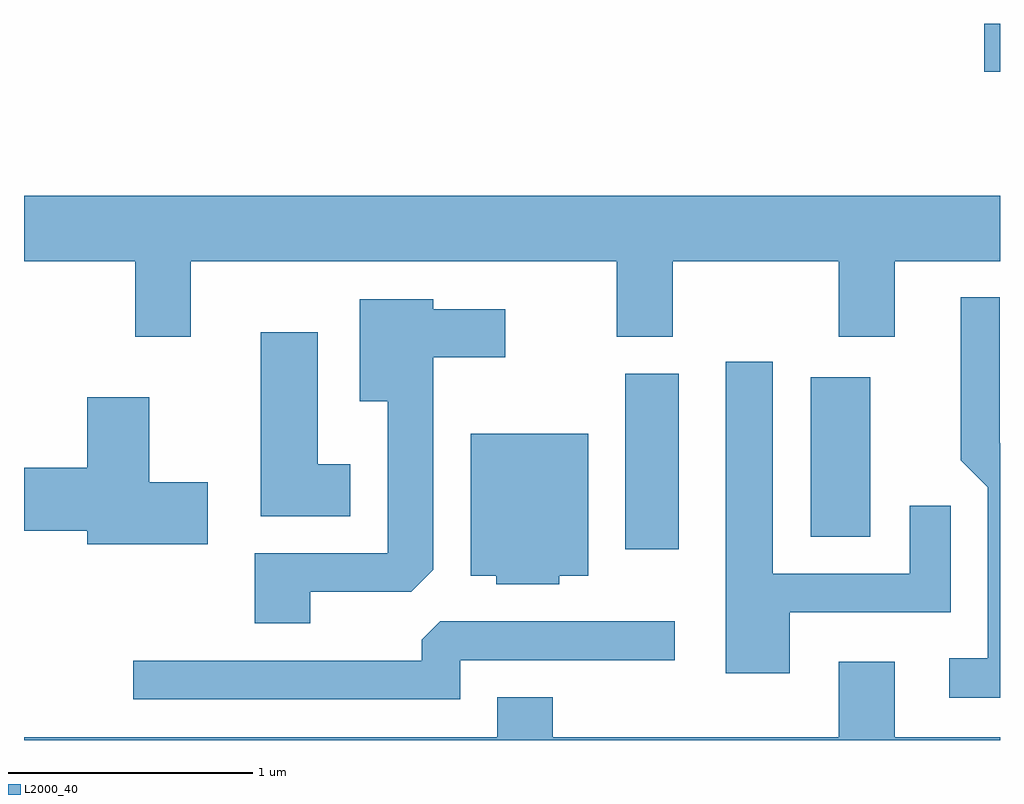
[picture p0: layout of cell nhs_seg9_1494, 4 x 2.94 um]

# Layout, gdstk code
import gdstk
lib = gdstk.Library(unit=1e-6, precision=1e-09)
def R(c, l, rs):  # rectangles x0, y0, x1, y1
    for r in rs: c.add(gdstk.rectangle(r[:2], r[2:], *l))
def P(c, l, *ps):  # polygons
    for p in ps: c.add(gdstk.Polygon(p, *l))
L2000_40 = (2000, 40)

nhs_seg9_1494 = lib.new_cell('nhs_seg9_1494')
R(nhs_seg9_1494, L2000_40, [(230.076,2077.216,230.294,2077.934), (230.836,2077.266,231.079,2077.919), (231.546,2079.171,231.611,2079.369)])
P(nhs_seg9_1494, L2000_40, [(228.294,2078.396),(230.041,2078.396),(230.041,2078.086),(230.269,2078.086),(230.269,2078.396),(230.951,2078.396),(230.951,2078.086),(231.179,2078.086),(231.179,2078.396),(231.611,2078.396),(231.611,2078.664),(227.611,2078.664),(227.611,2078.396),(228.066,2078.396),(228.066,2078.086),(228.294,2078.086)],
  [(231.611,2077.65),(231.609,2077.652),(231.609,2078.248),(231.451,2078.248),(231.451,2077.579),(231.561,2077.469),(231.561,2076.769),(231.403,2076.769),(231.403,2076.606),(231.611,2076.606)],
  [(228.784,2077.041),(229.199,2077.041),(229.289,2077.132),(229.289,2078.001),(229.584,2078.001),(229.584,2078.199),(229.289,2078.199),(229.289,2078.239),(228.986,2078.239),(228.986,2077.821),(229.101,2077.821),(229.101,2077.199),(228.556,2077.199),(228.556,2076.911),(228.784,2076.911)],
  [(228.949,2077.564),(228.814,2077.564),(228.814,2078.104),(228.581,2078.104),(228.581,2077.351),(228.949,2077.351)],
  [(230.749,2076.956),(231.409,2076.956),(231.409,2077.393),(231.241,2077.393),(231.241,2077.114),(230.679,2077.114),(230.679,2077.984),(230.486,2077.984),(230.486,2076.706),(230.749,2076.706)],
  [(228.364,2077.489),(228.124,2077.489),(228.124,2077.839),(227.871,2077.839),(227.871,2077.549),(227.611,2077.549),(227.611,2077.291),(227.871,2077.291),(227.871,2077.236),(228.364,2077.236)],
  [(229.804,2077.106),(229.924,2077.106),(229.924,2077.689),(229.441,2077.689),(229.441,2077.106),(229.546,2077.106),(229.546,2077.071),(229.804,2077.071)],
  [(229.399,2076.761),(230.278,2076.761),(230.278,2076.919),(229.317,2076.919),(229.241,2076.844),(229.241,2076.759),(228.058,2076.759),(228.058,2076.601),(229.399,2076.601)],
  [(231.611,2076.444),(231.179,2076.444),(231.179,2076.754),(230.951,2076.754),(230.951,2076.444),(229.779,2076.444),(229.779,2076.609),(229.551,2076.609),(229.551,2076.444),(227.611,2076.444),(227.611,2076.432),(231.611,2076.432)])

lib.write_gds('nhs_seg9_1494.gds')
